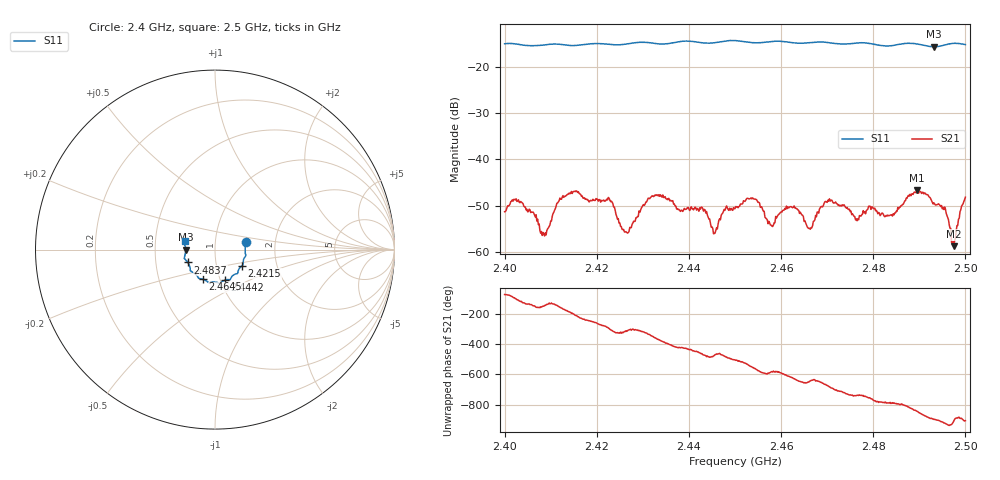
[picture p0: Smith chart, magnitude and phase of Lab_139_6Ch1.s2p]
# Hz S RI R
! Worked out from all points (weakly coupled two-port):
!   601 points, 2.4 GHz to 2.5 GHz, reference 50 ohm
!   highest |S21| = -46.67 dB at 2.4895 GHz (marker M1); lowest = -58.7 dB at 2.4975 GHz (marker M2)
!   lowest |S11| = -15.7 dB at 2.4932 GHz (marker M3), VSWR 1.39, Z = 35.9 - j0.0559 ohm
!   |S11| at or under -10 dB: start of sweep to end of sweep
!   S12 and S22 are empty: the file has one direction only
!   S11 on the Smith chart (normalised r, x): 2.4 GHz: 1.41, +0.12; 2.4215 GHz: 1.33, -0.25; 2.4442 GHz: 1.05, -0.37; 2.4645 GHz: 0.83, -0.29; 2.4837 GHz: 0.73, -0.11; 2.5 GHz: 0.71, +0.07
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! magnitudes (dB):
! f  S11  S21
! 2.4 GHz  -15.1  -51.3
! 2.4035 GHz  -15.3  -49.1
! 2.4085 GHz  -15.4  -56.0
! 2.4122 GHz  -15.2  -48.6
! 2.4167 GHz  -15.3  -47.9
! 2.4215 GHz  -15.1  -48.8
! 2.4265 GHz  -15.1  -55.7
! 2.4333 GHz  -15.1  -47.9
! 2.4442 GHz  -15.0  -52.4
! 2.4457 GHz  -14.8  -55.9
! 2.45 GHz  -14.4  -50.6
! 2.458 GHz  -14.6  -54.4
! 2.4645 GHz  -15.0  -52.0
! 2.4667 GHz  -14.8  -54.8
! 2.4707 GHz  -14.9  -49.0
! 2.4833 GHz  -15.6  -52.2
! 2.4837 GHz  -15.5  -52.0
! 2.4895 GHz  -15.1  -46.7
! 2.4932 GHz  -15.7  -49.4
! 2.4957 GHz  -15.3  -50.7
! 2.4975 GHz  -15.0  -58.7
! 2.5 GHz  -15.3  -48.2
